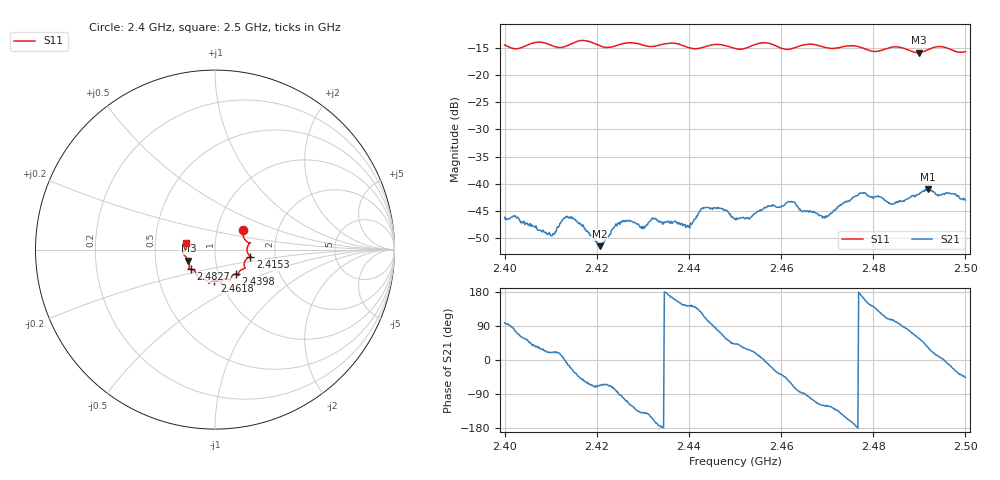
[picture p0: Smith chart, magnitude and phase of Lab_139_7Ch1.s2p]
# Hz S RI R 50
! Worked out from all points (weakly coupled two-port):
!   601 points, 2.4 GHz to 2.5 GHz, reference 50 ohm
!   highest |S21| = -40.96 dB at 2.4918 GHz (marker M1); lowest = -51.4 dB at 2.4207 GHz (marker M2)
!   lowest |S11| = -15.9 dB at 2.4898 GHz (marker M3), VSWR 1.38, Z = 36.9 - j4.64 ohm
!   |S11| at or under -10 dB: start of sweep to end of sweep
!   S12 and S22 are empty: the file has one direction only
!   S11 on the Smith chart (normalised r, x): 2.4 GHz: 1.33, +0.29; 2.4153 GHz: 1.48, -0.12; 2.4398 GHz: 1.21, -0.34; 2.4618 GHz: 0.94, -0.33; 2.4827 GHz: 0.75, -0.17; 2.5 GHz: 0.72, +0.06
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2.4e9  0.1554 0.1068  -0.000729 0.00488  0 0  0 0
2.410333e9  0.184 0.0228  0.00315 0.00114  0 0  0 0
2.413167e9  0.1818 -0.0173  0.00491 -0.000183  0 0  0 0
2.415333e9  0.1966 -0.0397  0.0039 -0.00265  0 0  0 0
2.416667e9  0.2023 -0.0437  0.00271 -0.00315  0 0  0 0
2.420667e9  0.1779 -0.0505  0.00106 -0.00246  0 0  0 0
2.425667e9  0.1661 -0.0999  -0.000721 -0.00444  0 0  0 0
2.43e9  0.1528 -0.1098  -0.0031 -0.00267  0 0  0 0
2.433333e9  0.1301 -0.1336  -0.00456 -0.000627  0 0  0 0
2.439833e9  0.1157 -0.136  -0.00322 0.00242  0 0  0 0
2.4435e9  0.0865 -0.1596  -0.00225 0.00562  0 0  0 0
2.45e9  0.065 -0.1623  0.00355 0.00323  0 0  0 0
2.456333e9  0.0385 -0.1938  0.00597 1.91e-05  0 0  0 0
2.461833e9  -0.003 -0.1725  0.00371 -0.00575  0 0  0 0
2.466667e9  -0.0344 -0.1882  -0.00135 -0.00535  0 0  0 0
2.469833e9  -0.0463 -0.1717  -0.00248 -0.00431  0 0  0 0
2.4775e9  -0.0981 -0.1488  -0.00807 0.00161  0 0  0 0
2.482667e9  -0.1349 -0.1084  -0.00263 0.00654  0 0  0 0
2.483333e9  -0.1399 -0.1081  -0.00211 0.00628  0 0  0 0
2.489833e9  -0.1478 -0.0614  0.00425 0.00674  0 0  0 0
2.491833e9  -0.1662 -0.036  0.00745 0.00496  0 0  0 0
2.5e9  -0.1594 0.0386  0.00494 -0.0051  0 0  0 0
